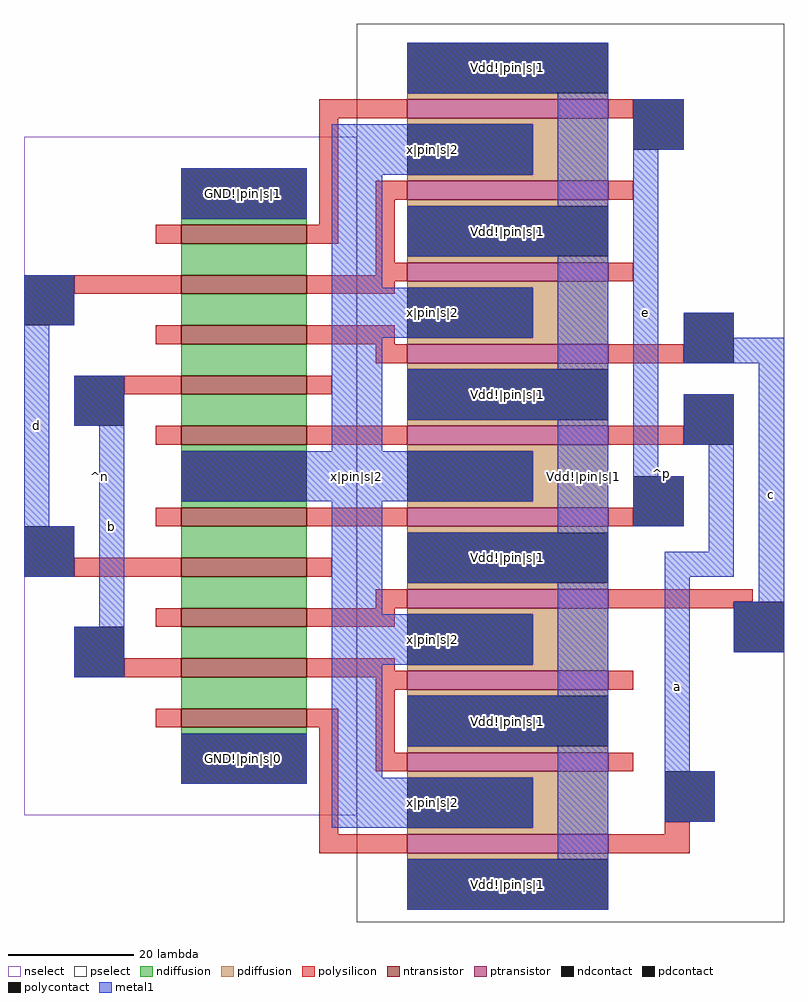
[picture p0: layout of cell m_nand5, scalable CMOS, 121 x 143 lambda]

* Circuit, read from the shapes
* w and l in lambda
.subckt m_nand5 GND!|pin|s|0 GND!|pin|s|1 Vdd!|pin|s|1 a b c d e x|pin|s|2
M1 n1 a GND!|pin|s|0 VSUBS nfet w=20 l=3
M2 n2 b n1 VSUBS nfet w=20 l=3
M3 n3 c n2 VSUBS nfet w=20 l=3
M4 n4 d n3 VSUBS nfet w=20 l=3
M5 x|pin|s|2 e n4 VSUBS nfet w=20 l=3
M6 n5 a x|pin|s|2 VSUBS nfet w=20 l=3
M7 n6 b n5 VSUBS nfet w=20 l=3
M8 n7 c n6 VSUBS nfet w=20 l=3
M9 n8 d n7 VSUBS nfet w=20 l=3
M10 GND!|pin|s|1 e n8 VSUBS nfet w=20 l=3
M11 x|pin|s|2 a Vdd!|pin|s|1 NWELL pfet w=32 l=3 m=2
M12 Vdd!|pin|s|1 b x|pin|s|2 NWELL pfet w=32 l=3 m=2
M13 Vdd!|pin|s|1 c x|pin|s|2 NWELL pfet w=32 l=3 m=2
M14 x|pin|s|2 e Vdd!|pin|s|1 NWELL pfet w=32 l=3 m=2
M15 Vdd!|pin|s|1 d x|pin|s|2 NWELL pfet w=32 l=3 m=2
.ends

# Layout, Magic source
magic
tech scmos
<< nselect >>
rect -53 -793 0 -685
<< pselect >>
rect 0 -810 68 -667
<< ndiffusion >>
rect -28 -699 -8 -698
rect -28 -707 -8 -702
rect -28 -715 -8 -710
rect -28 -723 -8 -718
rect -28 -731 -8 -726
rect -28 -735 -8 -734
rect -28 -744 -8 -743
rect -28 -752 -8 -747
rect -28 -760 -8 -755
rect -28 -768 -8 -763
rect -28 -776 -8 -771
rect -28 -780 -8 -779
<< pdiffusion >>
rect 8 -679 40 -678
rect 8 -683 40 -682
rect 28 -691 40 -683
rect 8 -692 40 -691
rect 8 -696 40 -695
rect 8 -705 40 -704
rect 8 -709 40 -708
rect 28 -717 40 -709
rect 8 -718 40 -717
rect 8 -722 40 -721
rect 8 -731 40 -730
rect 8 -735 40 -734
rect 28 -743 40 -735
rect 8 -744 40 -743
rect 8 -748 40 -747
rect 8 -757 40 -756
rect 8 -761 40 -760
rect 28 -769 40 -761
rect 8 -770 40 -769
rect 8 -774 40 -773
rect 8 -783 40 -782
rect 8 -787 40 -786
rect 28 -795 40 -787
rect 8 -796 40 -795
rect 8 -800 40 -799
<< ntransistor >>
rect -28 -702 -8 -699
rect -28 -710 -8 -707
rect -28 -718 -8 -715
rect -28 -726 -8 -723
rect -28 -734 -8 -731
rect -28 -747 -8 -744
rect -28 -755 -8 -752
rect -28 -763 -8 -760
rect -28 -771 -8 -768
rect -28 -779 -8 -776
<< ptransistor >>
rect 8 -682 40 -679
rect 8 -695 40 -692
rect 8 -708 40 -705
rect 8 -721 40 -718
rect 8 -734 40 -731
rect 8 -747 40 -744
rect 8 -760 40 -757
rect 8 -773 40 -770
rect 8 -786 40 -783
rect 8 -799 40 -796
<< polysilicon >>
rect -6 -682 8 -679
rect 40 -682 44 -679
rect -6 -699 -3 -682
rect -32 -702 -28 -699
rect -8 -702 -3 -699
rect 3 -695 8 -692
rect 40 -695 44 -692
rect 3 -705 6 -695
rect 3 -707 8 -705
rect -45 -710 -28 -707
rect -8 -708 8 -707
rect 40 -708 44 -705
rect -8 -710 6 -708
rect -32 -718 -28 -715
rect -8 -718 6 -715
rect 3 -721 8 -718
rect 40 -721 52 -718
rect -37 -726 -28 -723
rect -8 -726 -4 -723
rect -32 -734 -28 -731
rect -8 -734 8 -731
rect 40 -734 52 -731
rect -32 -747 -28 -744
rect -8 -747 8 -744
rect 40 -747 44 -744
rect -45 -755 -28 -752
rect -8 -755 -4 -752
rect 3 -760 8 -757
rect 40 -759 63 -757
rect 40 -760 60 -759
rect -32 -763 -28 -760
rect -8 -763 6 -760
rect -37 -771 -28 -768
rect -8 -770 6 -768
rect -8 -771 8 -770
rect 3 -773 8 -771
rect 40 -773 44 -770
rect -32 -779 -28 -776
rect -8 -779 -3 -776
rect -6 -796 -3 -779
rect 3 -783 6 -773
rect 3 -786 8 -783
rect 40 -786 44 -783
rect 49 -796 53 -794
rect -6 -799 8 -796
rect 40 -799 53 -796
<< ndcontact >>
rect -28 -698 -8 -690
rect -28 -743 -8 -735
rect -28 -788 -8 -780
<< pdcontact >>
rect 8 -678 40 -670
rect 8 -691 28 -683
rect 8 -704 40 -696
rect 8 -717 28 -709
rect 8 -730 40 -722
rect 8 -743 28 -735
rect 8 -756 40 -748
rect 8 -769 28 -761
rect 8 -782 40 -774
rect 8 -795 28 -787
rect 8 -808 40 -800
<< polycontact >>
rect 44 -687 52 -679
rect -53 -715 -45 -707
rect 52 -721 60 -713
rect -45 -731 -37 -723
rect 52 -734 60 -726
rect 44 -747 52 -739
rect -53 -755 -45 -747
rect -45 -771 -37 -763
rect 60 -767 68 -759
rect 49 -794 57 -786
<< metal1 >>
rect 8 -678 40 -670
rect -28 -698 -8 -690
rect -4 -691 28 -683
rect -53 -715 -45 -707
rect -4 -709 4 -691
rect 32 -696 40 -678
rect 8 -704 40 -696
rect -53 -747 -49 -715
rect -4 -717 28 -709
rect -45 -731 -37 -723
rect -53 -755 -45 -747
rect -41 -763 -37 -731
rect -4 -735 4 -717
rect 32 -722 40 -704
rect 8 -730 40 -722
rect -28 -743 28 -735
rect -45 -771 -37 -763
rect -4 -761 4 -743
rect 32 -748 40 -730
rect 44 -687 52 -679
rect 44 -739 48 -687
rect 52 -717 60 -713
rect 52 -721 68 -717
rect 52 -734 60 -726
rect 44 -747 52 -739
rect 8 -756 40 -748
rect 56 -751 60 -734
rect -4 -769 28 -761
rect -28 -788 -8 -780
rect -4 -787 4 -769
rect 32 -774 40 -756
rect 8 -782 40 -774
rect -4 -795 28 -787
rect 32 -800 40 -782
rect 49 -755 60 -751
rect 49 -786 53 -755
rect 64 -759 68 -721
rect 60 -767 68 -759
rect 49 -794 57 -786
rect 8 -808 40 -800
<< labels >>
rlabel metal1 -41 -771 -37 -723 1 b
rlabel metal1 -53 -755 -49 -707 3 d
rlabel space -54 -797 -28 -681 7 ^n
rlabel metal1 44 -747 48 -679 1 e
rlabel metal1 64 -767 68 -717 7 c
rlabel metal1 49 -794 53 -751 1 a
rlabel space 28 -810 69 -667 3 ^p
rlabel metal1 -28 -788 -8 -780 1 GND!|pin|s|0
rlabel metal1 8 -704 40 -696 1 Vdd!|pin|s|1
rlabel metal1 8 -782 40 -774 1 Vdd!|pin|s|1
rlabel metal1 32 -808 40 -670 1 Vdd!|pin|s|1
rlabel metal1 -4 -795 4 -683 1 x|pin|s|2
rlabel metal1 -4 -691 28 -683 1 x|pin|s|2
rlabel metal1 -4 -717 28 -709 1 x|pin|s|2
rlabel metal1 -4 -769 28 -761 1 x|pin|s|2
rlabel metal1 -4 -795 28 -787 1 x|pin|s|2
rlabel metal1 -28 -743 28 -735 1 x|pin|s|2
rlabel metal1 8 -678 40 -670 1 Vdd!|pin|s|1
rlabel metal1 8 -730 40 -722 1 Vdd!|pin|s|1
rlabel metal1 8 -756 40 -748 1 Vdd!|pin|s|1
rlabel metal1 8 -808 40 -800 1 Vdd!|pin|s|1
rlabel metal1 -28 -698 -8 -690 1 GND!|pin|s|1
<< end >>
